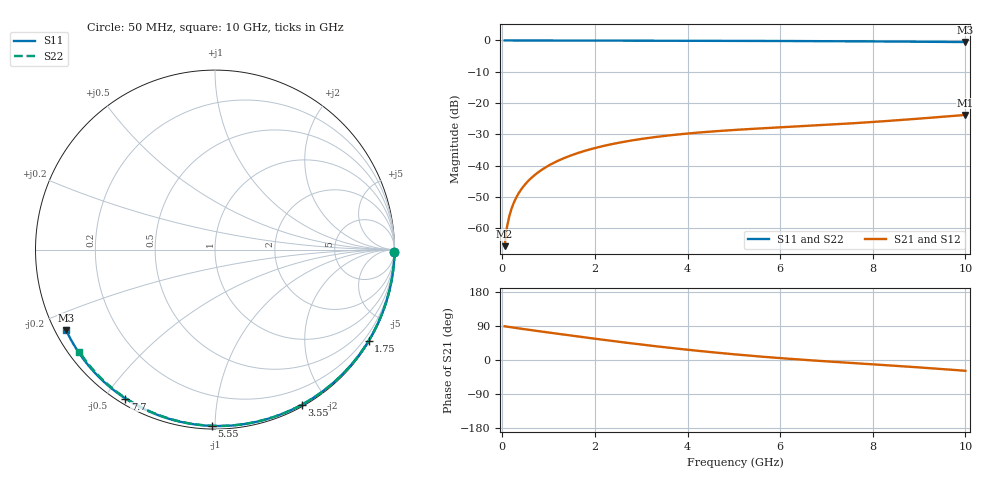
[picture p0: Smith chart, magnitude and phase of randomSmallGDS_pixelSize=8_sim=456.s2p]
! freq	dB(S11)	phase(S11)	dB(S12)	phase(S12)
!  dB(S21)	phase(S21)	dB(S22)	phase(S22)
!S-par simulation data
#  GHz  S  DB  R 50
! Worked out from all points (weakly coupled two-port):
!   200 points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, 50 MHz to 10 GHz, reference 50 ohm
!   highest |S21| = -23.81 dB at 10 GHz (marker M1); lowest = -65.7 dB at 50 MHz (marker M2)
!   lowest |S11| = -0.5 dB at 10 GHz (marker M3), VSWR 34.06, Z = 1.56 - j12.6 ohm
!   |S11| at or under -10 dB: nowhere
!   |S22| runs from -0.5 to 0.0 dB; largest |S21 - S12| = 0
!   S11 on the Smith chart (normalised r, x): 50 MHz: open; 1.75 GHz: 0.03, -3.63; 3.55 GHz: 0.02, -1.71; 5.55 GHz: 0.02, -0.98; 7.7 GHz: 0.02, -0.57; 10 GHz: 0.03, -0.25
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0.05  -0.00 -0.9  -65.75 89.0  -65.75 89.0  -0.00 -0.8
0.1  -0.00 -1.8  -59.74 88.1  -59.74 88.1  -0.00 -1.7
0.15  -0.00 -2.7  -56.22 87.1  -56.22 87.1  -0.00 -2.5
0.2  -0.00 -3.6  -53.74 86.2  -53.74 86.2  -0.00 -3.4
0.25  -0.00 -4.5  -51.82 85.3  -51.82 85.3  -0.00 -4.2
0.35  -0.00 -6.3  -48.92 83.5  -48.92 83.5  -0.00 -5.9
0.5  -0.01 -8.9  -45.87 80.9  -45.87 80.9  -0.01 -8.4
0.7  -0.01 -12.5  -43.00 77.6  -43.00 77.6  -0.01 -11.7
1  -0.02 -17.7  -39.99 72.5  -39.99 72.5  -0.02 -16.7
1.35  -0.03 -23.9  -37.51 66.7  -37.51 66.7  -0.03 -22.5
1.75  -0.04 -30.8  -35.42 60.2  -35.42 60.2  -0.04 -29.0
2.5  -0.06 -43.5  -32.74 48.3  -32.74 48.3  -0.05 -41.0
3.4  -0.08 -58.3  -30.69 35.1  -30.69 35.1  -0.08 -55.0
3.55  -0.08 -60.7  -30.43 33.1  -30.43 33.1  -0.08 -57.3
4.3  -0.11 -72.4  -29.36 23.3  -29.36 23.3  -0.10 -68.4
5.05  -0.13 -83.8  -28.57 14.6  -28.57 14.6  -0.13 -79.2
5.55  -0.15 -91.1  -28.13 9.3  -28.13 9.3  -0.14 -86.1
6.7  -0.21 -107.4  -27.22 -1.1  -27.22 -1.1  -0.20 -101.6
7.7  -0.28 -121.0  -26.35 -9.1  -26.35 -9.1  -0.27 -114.5
8.35  -0.33 -129.7  -25.70 -14.2  -25.70 -14.2  -0.32 -122.6
9.2  -0.42 -141.0  -24.75 -21.3  -24.75 -21.3  -0.40 -133.2
10  -0.51 -151.7  -23.81 -28.5  -23.81 -28.5  -0.49 -143.1
